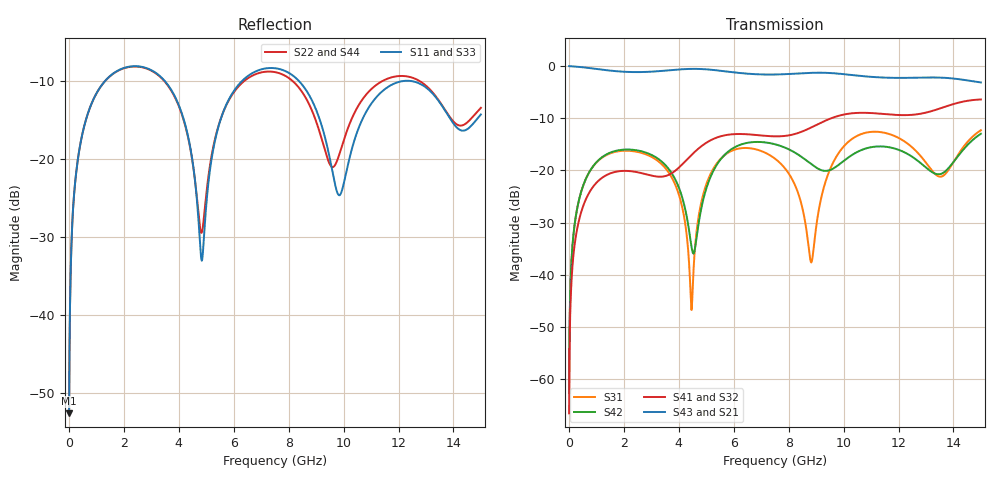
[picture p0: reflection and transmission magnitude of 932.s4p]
! Created with skrf 1.8.0 (http://scikit-rf.org).
# GHz S RI R 50.0
!freq ReS11 ImS11 ReS12 ImS12 ReS13 ImS13
! ReS14 ImS14
! ReS21 ImS21 ReS22 ImS22 ReS23 ImS23
! ReS24 ImS24
! ReS31 ImS31 ReS32 ImS32 ReS33 ImS33
! ReS34 ImS34
! ReS41 ImS41 ReS42 ImS42 ReS43 ImS43
! ReS44 ImS44
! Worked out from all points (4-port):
!   2499 points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, 5 MHz to 15 GHz, reference 50 ohm
!   strongest paths, dB at 5 MHz, 3.476 GHz, 7.19 GHz, 11.1 GHz, 15 GHz:
!     S43: 0.0, -0.9, -1.6, -2.1, -3.1
!     S21: 0.0, -0.9, -1.6, -2.1, -3.1
!     S41: -66.5, -21.1, -13.4, -9.0, -6.4
!     S32: -66.5, -21.1, -13.4, -9.0, -6.4
!     S42: -62.6, -18.8, -14.7, -15.5, -13.0
!     S31: -62.6, -19.4, -16.7, -12.6, -12.3
!   lowest |S11| = -52.7 dB at 5 MHz (marker M1), VSWR 1.00, Z = 50.2 + j0.141 ohm
!   |S11| at or under -10 dB: 3.489 GHz to 6.302 GHz (2.814 GHz wide, 57.5 % of centre); 8.374 GHz to 12.17 GHz (3.8 GHz wide, 37 % of centre); 12.45 GHz to end of sweep (the widest 3 of 4)
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0.005  0.00185 0.00141  0.9981 -0.00361  9.38e-05 0.000736  -9.11e-05 -0.000462
       0.9981 -0.00361  0.00185 0.00141  -9.11e-05 -0.000462  9.39e-05 0.000736
       9.38e-05 0.000736  -9.11e-05 -0.000462  0.00185 0.00141  0.9981 -0.00361
       -9.11e-05 -0.000462  9.39e-05 0.000736  0.9981 -0.00361  0.00185 0.00141
1.369321  0.2714 0.1776  0.5496 -0.7288  0.1246 0.0655  -0.0902 -0.00632
          0.5496 -0.7288  0.2694 0.179  -0.0902 -0.00632  0.1306 0.0573
          0.1246 0.0655  -0.0902 -0.00632  0.2715 0.1776  0.5495 -0.7288
          -0.0902 -0.00632  0.1306 0.0573  0.5495 -0.7288  0.2694 0.179
4.458108  0.0454 -0.0977  -0.8897 -0.3036  0.00462 0.000199  -0.041 0.1343
          -0.8897 -0.3036  0.0553 -0.0906  -0.0408 0.1343  -0.0159 -0.0101
          0.00462 0.000199  -0.0408 0.1343  0.0467 -0.0987  -0.8895 -0.3038
          -0.041 0.1343  -0.0159 -0.0101  -0.8895 -0.3038  0.055 -0.0921
5.583576  0.1192 0.1514  -0.8125 0.3806  0.0946 0.095  0.1176 0.1794
          -0.8125 0.3806  0.1263 0.1457  0.1176 0.1792  0.1024 0.0859
          0.0946 0.095  0.1176 0.1792  0.1198 0.1493  -0.8128 0.3807
          0.1176 0.1794  0.1024 0.0859  -0.8128 0.3807  0.1244 0.1448
8.822426  0.1698 -0.1729  0.6346 0.5824  0.0123 0.00454  0.1684 -0.1956
          0.6346 0.5824  0.1672 -0.126  0.1684 -0.1957  -0.0752 -0.0869
          0.0123 0.00454  0.1684 -0.1957  0.1676 -0.173  0.6363 0.5809
          0.1684 -0.1956  -0.0752 -0.0869  0.6363 0.5809  0.1664 -0.1245
9.760317  0.0568 -0.0236  0.8439 0.0927  0.0615 0.1244  0.0284 -0.3291
          0.8439 0.0927  0.093 0.0276  0.0281 -0.3293  -0.0595 0.0927
          0.0615 0.1244  0.0281 -0.3293  0.0565 -0.0218  0.8441 0.0896
          0.0284 -0.3291  -0.0595 0.0927  0.8441 0.0896  0.093 0.0297
15  0.1886 0.0408  -0.697 0.0251  0.0653 0.2339  0.0578 0.4754
    -0.697 0.0251  0.2106 0.0294  0.0595 0.4743  0.0719 0.2129
    0.0653 0.2339  0.0595 0.4743  0.1925 0.0405  -0.6961 0.0329
    0.0578 0.4754  0.0719 0.2129  -0.6961 0.0329  0.2088 0.0309
